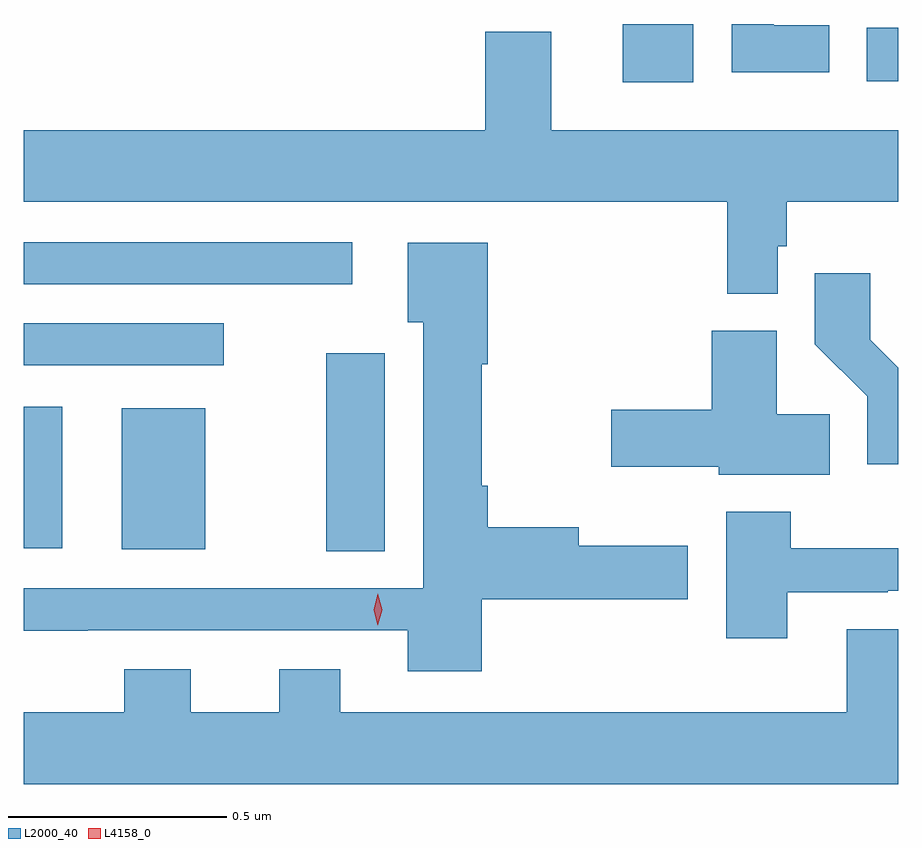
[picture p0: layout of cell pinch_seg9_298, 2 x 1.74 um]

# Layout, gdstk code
import gdstk
lib = gdstk.Library(unit=1e-6, precision=1e-09)
def R(c, l, rs):  # rectangles x0, y0, x1, y1
    for r in rs: c.add(gdstk.rectangle(r[:2], r[2:], *l))
def P(c, l, *ps):  # polygons
    for p in ps: c.add(gdstk.Polygon(p, *l))
L2000_40 = (2000, 40)
L4158_0 = (4158, 0)

pinch_seg9_298 = lib.new_cell('pinch_seg9_298')
R(pinch_seg9_298, L2000_40, [(443.96,1167.649,444.094,1168.102), (443.492,1167.653,443.683,1167.976), (443.268,1167.656,443.356,1167.979), (443.268,1168.074,443.725,1168.17), (443.268,1168.26,444.019,1168.356), (444.638,1168.722,444.799,1168.855), (445.196,1168.724,445.268,1168.846)])
P(pinch_seg9_298, L2000_40, [(445.111,1168.852),(444.984,1168.852),(444.984,1168.855),(444.888,1168.855),(444.888,1168.745),(445.111,1168.745)],
  [(444.993,1168.347),(445.013,1168.347),(445.013,1168.448),(445.268,1168.448),(445.268,1168.612),(444.475,1168.612),(444.475,1168.837),(444.323,1168.837),(444.323,1168.612),(443.268,1168.612),(443.268,1168.448),(444.877,1168.448),(444.877,1168.238),(444.993,1168.238)],
  [(444.316,1167.539),(444.787,1167.539),(444.787,1167.661),(444.538,1167.661),(444.538,1167.703),(444.329,1167.703),(444.329,1167.799),(444.316,1167.799),(444.316,1168.076),(444.329,1168.076),(444.329,1168.354),(444.146,1168.354),(444.146,1168.172),(444.182,1168.172),(444.182,1167.564),(443.268,1167.564),(443.268,1167.467),(443.414,1167.467),(443.414,1167.468),(444.146,1167.468),(444.146,1167.374),(444.316,1167.374)],
  [(445.268,1168.069),(445.204,1168.133),(445.204,1168.285),(445.078,1168.285),(445.078,1168.122),(445.197,1168.003),(445.197,1167.848),(445.268,1167.848)],
  [(445.112,1167.962),(444.991,1167.962),(444.991,1168.153),(444.842,1168.153),(444.842,1167.972),(444.612,1167.972),(444.612,1167.842),(444.858,1167.842),(444.858,1167.824),(445.112,1167.824)],
  [(445.015,1167.555),(445.244,1167.555),(445.244,1167.558),(445.268,1167.558),(445.268,1167.655),(445.023,1167.655),(445.023,1167.739),(444.875,1167.739),(444.875,1167.45),(445.015,1167.45)],
  [(445.268,1167.47),(445.151,1167.47),(445.151,1167.28),(443.992,1167.28),(443.992,1167.379),(443.852,1167.379),(443.852,1167.28),(443.65,1167.28),(443.65,1167.379),(443.498,1167.379),(443.498,1167.28),(443.268,1167.28),(443.268,1167.116),(445.268,1167.116)])
P(pinch_seg9_298, L4158_0, [(444.078,1167.479),(444.078,1167.479),(444.068,1167.515),(444.078,1167.551),(444.078,1167.551),(444.078,1167.551),(444.088,1167.515),(444.078,1167.479)])

lib.write_gds('pinch_seg9_298.gds')
